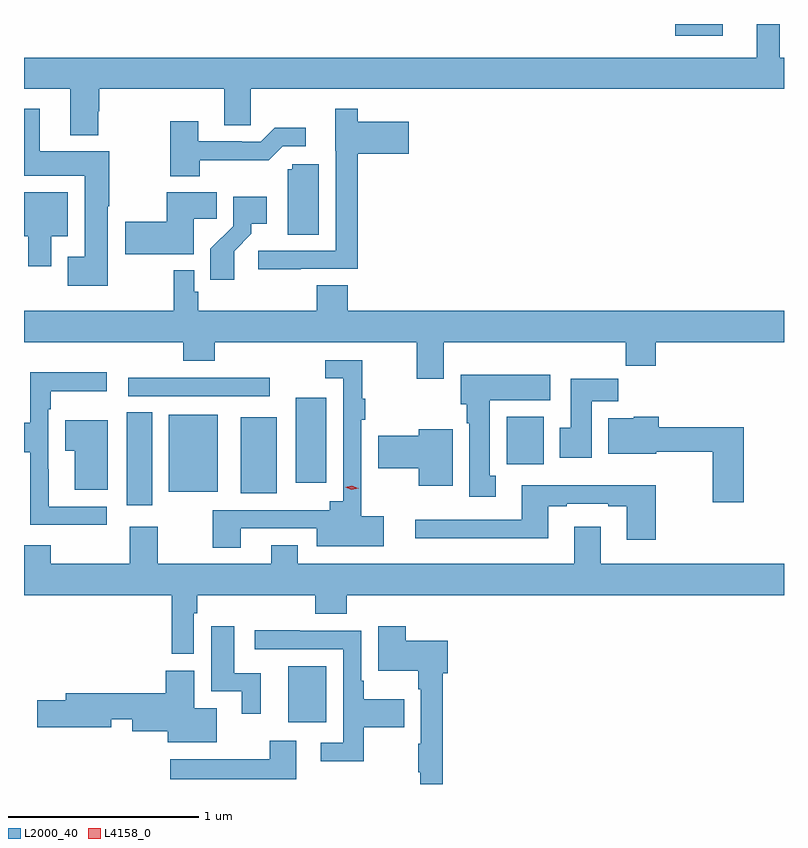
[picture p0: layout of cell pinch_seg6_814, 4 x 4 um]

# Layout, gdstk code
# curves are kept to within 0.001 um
import gdstk
lib = gdstk.Library(unit=1e-6, precision=1e-09)
def R(c, l, rs):  # rectangles x0, y0, x1, y1
    for r in rs: c.add(gdstk.rectangle(r[:2], r[2:], *l))
def P(c, l, *ps):  # polygons
    for p in ps: c.add(gdstk.Polygon(p, *l))
L2000_40 = (2000, 40)
L4158_0 = (4158, 0)

pinch_seg6_814 = lib.new_cell('pinch_seg6_814')
R(pinch_seg6_814, L2000_40, [(144.455,961.319,144.655,961.615), (143.606,962.46,143.74,962.951), (144.206,962.525,144.394,962.923), (143.828,962.531,144.085,962.938), (144.494,962.58,144.655,963.028), (145.605,962.676,145.801,962.926), (143.613,963.036,144.358,963.132), (146.492,964.931,146.743,964.994)])
P(pinch_seg6_814, L2000_40, [(143.457,964.536),(143.462,964.536),(143.462,964.652),(144.119,964.652),(144.119,964.462),(144.258,964.462),(144.258,964.652),(147.065,964.652),(147.065,964.816),(147.043,964.816),(147.043,964.994),(146.921,964.994),(146.921,964.816),(143.065,964.816),(143.065,964.652),(143.309,964.652),(143.309,964.409),(143.457,964.409)],
  [(144.521,963.705),(144.821,963.705),(144.821,964.31),(145.09,964.31),(145.09,964.48),(144.821,964.48),(144.821,964.549),(144.704,964.549),(144.704,964.326),(144.705,964.326),(144.705,963.801),(144.297,963.801),(144.297,963.703),(144.521,963.703)],
  [(143.506,964.036),(143.514,964.036),(143.514,964.324),(143.149,964.324),(143.149,964.549),(143.065,964.549),(143.065,964.196),(143.384,964.196),(143.384,963.769),(143.294,963.769),(143.294,963.617),(143.506,963.617)],
  [(143.991,964.278),(144.353,964.277),(144.426,964.35),(144.547,964.35),(144.547,964.447),(144.385,964.447),(144.312,964.374),(144.212,964.374),(144.212,964.377),(143.983,964.377),(143.983,964.483),(143.836,964.483),(143.836,964.193),(143.991,964.193)],
  [(144.616,964.257),(144.477,964.257),(144.477,964.23),(144.452,964.23),(144.452,963.886),(144.616,963.886)],
  [(143.959,963.97),(144.08,963.97),(144.08,964.108),(143.815,964.108),(143.815,963.953),(143.598,963.953),(143.598,963.782),(143.959,963.782)],
  [(143.209,963.878),(143.296,963.878),(143.296,964.108),(143.065,964.108),(143.065,963.878),(143.087,963.878),(143.087,963.72),(143.209,963.72)],
  [(144.172,963.799),(144.262,963.889),(144.262,963.944),(144.343,963.944),(144.343,964.084),(144.165,964.084),(144.165,963.929),(144.046,963.81),(144.046,963.648),(144.172,963.648)],
  [(145.273,963.32),(146.233,963.32),(146.233,963.196),(146.39,963.196),(146.39,963.32),(147.065,963.32),(147.065,963.484),(144.77,963.484),(144.77,963.62),(144.605,963.62),(144.605,963.484),(143.981,963.484),(143.981,963.585),(143.961,963.585),(143.961,963.697),(143.853,963.697),(143.853,963.484),(143.065,963.484),(143.065,963.32),(143.903,963.32),(143.903,963.221),(144.068,963.221),(144.068,963.32),(145.133,963.32),(145.133,963.126),(145.273,963.126)],
  [(144.205,962.34),(144.605,962.34),(144.605,962.246),(144.958,962.246),(144.958,962.404),(144.84,962.404),(144.84,962.911),(144.86,962.911),(144.86,963.022),(144.845,963.022),(144.845,963.225),(144.651,963.225),(144.651,963.129),(144.744,963.129),(144.744,962.482),(144.674,962.482),(144.674,962.436),(144.058,962.436),(144.058,962.238),(144.205,962.238)],
  [(143.5,962.454),(143.194,962.454),(143.194,962.651),(143.193,962.651),(143.193,962.966),(143.206,962.966),(143.206,963.062),(143.5,963.062),(143.5,963.16),(143.097,963.16),(143.097,962.895),(143.065,962.895),(143.065,962.74),(143.097,962.74),(143.097,962.358),(143.5,962.358)],
  [(145.549,962.617),(145.516,962.617),(145.516,963.014),(145.834,963.014),(145.834,963.148),(145.364,963.148),(145.364,962.994),(145.394,962.994),(145.394,962.894),(145.409,962.894),(145.409,962.505),(145.549,962.505)],
  [(146.053,963.008),(146.192,963.008),(146.192,963.127),(145.943,963.127),(145.943,962.868),(145.886,962.868),(145.886,962.712),(146.053,962.712)],
  [(146.854,962.872),(146.405,962.872),(146.405,962.926),(146.274,962.926),(146.274,962.92),(146.141,962.92),(146.141,962.732),(146.392,962.732),(146.392,962.743),(146.689,962.743),(146.689,962.478),(146.854,962.478)],
  [(143.506,962.908),(143.282,962.908),(143.282,962.747),(143.333,962.747),(143.333,962.543),(143.506,962.543)],
  [(145.321,962.86),(145.142,962.86),(145.142,962.828),(144.93,962.828),(144.93,962.657),(145.142,962.657),(145.142,962.564),(145.321,962.564)],
  [(146.39,962.566),(145.685,962.566),(145.685,962.385),(145.125,962.385),(145.125,962.288),(145.825,962.288),(145.825,962.457),(145.921,962.457),(145.921,962.469),(146.141,962.469),(146.141,962.457),(146.237,962.457),(146.237,962.28),(146.39,962.28)],
  [(143.958,961.892),(143.978,961.892),(143.978,961.988),(144.599,961.988),(144.599,961.889),(144.764,961.889),(144.764,961.988),(147.065,961.988),(147.065,962.152),(146.101,962.152),(146.101,962.347),(145.961,962.347),(145.961,962.152),(144.505,962.152),(144.505,962.251),(144.365,962.251),(144.365,962.152),(143.769,962.152),(143.769,962.347),(143.621,962.347),(143.621,962.152),(143.205,962.152),(143.205,962.251),(143.065,962.251),(143.065,961.988),(143.842,961.988),(143.842,961.68),(143.958,961.68)],
  [(144.31,961.578),(144.172,961.578),(144.172,961.825),(144.05,961.825),(144.05,961.482),(144.212,961.482),(144.212,961.365),(144.31,961.365)],
  [(145.268,961.577),(145.295,961.577),(145.295,961.747),(145.073,961.747),(145.073,961.825),(144.929,961.825),(144.929,961.589),(145.14,961.589),(145.14,961.493),(145.152,961.493),(145.152,961.205),(145.14,961.205),(145.14,961.057),(145.151,961.057),(145.151,960.994),(145.268,960.994)],
  [(144.853,961.294),(145.067,961.294),(145.067,961.441),(144.853,961.441),(144.853,961.537),(144.84,961.537),(144.84,961.8),(144.515,961.8),(144.515,961.802),(144.279,961.802),(144.279,961.704),(144.744,961.704),(144.744,961.212),(144.627,961.212),(144.627,961.115),(144.853,961.115)],
  [(144.079,961.393),(143.962,961.393),(143.962,961.591),(143.81,961.591),(143.81,961.472),(143.285,961.472),(143.285,961.436),(143.136,961.436),(143.136,961.294),(143.524,961.294),(143.524,961.336),(143.636,961.336),(143.636,961.271),(143.822,961.271),(143.822,961.214),(144.079,961.214)],
  [(144.499,961.222),(144.359,961.222),(144.359,961.123),(143.835,961.123),(143.835,961.019),(144.499,961.019)])
P(pinch_seg6_814, L4158_0, [(144.79,962.544),(144.756,962.556),(144.755,962.556),(144.756,962.556),(144.791,962.564),(144.825,962.551),(144.826,962.551),(144.825,962.551)])

lib.write_gds('pinch_seg6_814.gds')
